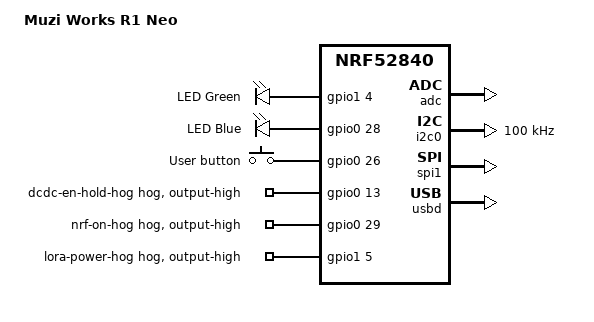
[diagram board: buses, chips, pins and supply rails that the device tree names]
/*
 * SPDX-License-Identifier: GPL-3.0-or-later
 * SPDX-FileCopyrightText: The contributors to the LICHEN project
 *
 * Muzi Works R1 Neo — nRF52840 + SX1262.
 *
 * Pin assignments are from the project-LICHEN-ev5b.1 hardware fact Bead.
 * The original non-Neo R1 is intentionally not aliased to this target.
 */

/dts-v1/;
#include <nordic/nrf52840_qiaa.dtsi>
#include <zephyr/dt-bindings/lora/sx126x.h>
#include <zephyr/dt-bindings/input/input-event-codes.h>
#include "r1_neo-pinctrl.dtsi"

/ {
	model = "Muzi Works R1 Neo";
	compatible = "muzi,r1-neo";

	chosen {
		zephyr,sram           = &sram0;
		zephyr,flash          = &flash0;
		zephyr,code-partition = &slot0_partition;
		zephyr,console        = &cdc_acm_uart0;
	};

	leds {
		compatible = "gpio-leds";
		green_led: green_led {
			gpios = <&gpio1 4 GPIO_ACTIVE_HIGH>;
			label = "LED Green";
		};
		blue_led: blue_led {
			gpios = <&gpio0 28 GPIO_ACTIVE_HIGH>;
			label = "LED Blue";
		};
	};

	buttons {
		compatible = "gpio-keys";
		button0: button_0 {
			gpios = <&gpio0 26 GPIO_ACTIVE_HIGH>;
			label = "User button";
			zephyr,code = <INPUT_KEY_0>;
		};
	};

	aliases {
		led0      = &green_led;
		led1      = &blue_led;
		sw0       = &button0;
		lora0     = &lora0;
		watchdog0 = &wdt0;
	};
};

&gpiote {
	status = "okay";
};

&gpio0 {
	status = "okay";

	dcdc-en-hold-hog {
		gpio-hog;
		gpios = <13 GPIO_ACTIVE_HIGH>;
		output-high;
	};

	nrf-on-hog {
		gpio-hog;
		gpios = <29 GPIO_ACTIVE_HIGH>;
		output-high;
	};
};

&gpio1 {
	status = "okay";

	lora-power-hog {
		gpio-hog;
		gpios = <5 GPIO_ACTIVE_HIGH>;
		output-high;
	};
};

&adc {
	status = "okay";
};

/*
 * RX8130CE RTC is present at 0x32, but no Zephyr binding is enabled here.
 * The bus is available for future RTC bring-up.
 */
&i2c0 {
	compatible = "nordic,nrf-twim";
	status = "okay";
	clock-frequency = <I2C_BITRATE_STANDARD>;
	pinctrl-0 = <&i2c0_default>;
	pinctrl-1 = <&i2c0_sleep>;
	pinctrl-names = "default", "sleep";
};

/*
 * SX1262 LoRa radio on SPI1.
 *   CS=P1.10  RESET=P1.06  BUSY=P1.14  DIO1=P1.15
 *   DIO2 drives the RF switch; DIO3 supplies the TCXO at 1.8 V.
 *
 * RESET=P1.06 is provisional pending project-LICHEN-ev5b.9 validation.
 * Node is disabled in the board DTS and enabled by application overlays.
 */
&spi1 {
	compatible = "nordic,nrf-spim";
	status = "okay";
	cs-gpios = <&gpio1 10 GPIO_ACTIVE_LOW>;
	pinctrl-0 = <&spi1_default>;
	pinctrl-1 = <&spi1_sleep>;
	pinctrl-names = "default", "sleep";

	lora0: lora@0 {
		compatible = "semtech,sx1262";
		reg = <0>;
		status = "disabled";
		reset-gpios = <&gpio1 6 GPIO_ACTIVE_LOW>;
		busy-gpios = <&gpio1 14 GPIO_ACTIVE_HIGH>;
		dio1-gpios = <&gpio1 15 GPIO_ACTIVE_HIGH>;
		dio2-tx-enable;
		dio3-tcxo-voltage = <SX126X_DIO3_TCXO_1V8>;
		tcxo-power-startup-delay-ms = <5>;
		spi-max-frequency = <8000000>;
	};
};

/*
 * GNSS UART pins are known only at the physical-pin level (P0.24/P0.25).
 * Keep the UART disabled until the direction and AG3335 control lines are
 * validated against hardware.
 */
&uart1 {
	compatible = "nordic,nrf-uarte";
	status = "disabled";
	current-speed = <115200>;
	pinctrl-0 = <&uart1_default>;
	pinctrl-1 = <&uart1_sleep>;
	pinctrl-names = "default", "sleep";
};

/* Native USB — CDC-ACM console and optional LICHEN Native transport. */
zephyr_udc0: &usbd {
	compatible = "nordic,nrf-usbd";
	status = "okay";

	cdc_acm_uart0: cdc_acm_uart0 {
		compatible = "zephyr,cdc-acm-uart";
	};
};

&flash0 {
	partitions {
		compatible = "fixed-partitions";
		#address-cells = <1>;
		#size-cells = <1>;

		/*
		 * Muzi/Adafruit UF2-style layout. Validate against real R1 Neo
		 * bootloader before relying on DFU or OTA update flows.
		 */
		boot_partition: partition@26000 {
			label = "mcuboot";
			reg = <0x00026000 0x0000C000>;
		};
		slot0_partition: partition@32000 {
			label = "image-0";
			reg = <0x00032000 0x0005A000>;
		};
		slot1_partition: partition@8c000 {
			label = "image-1";
			reg = <0x0008C000 0x0005A000>;
		};
		storage_partition: partition@e6000 {
			label = "storage";
			reg = <0x000e6000 0x00004000>;
		};
	};
};
